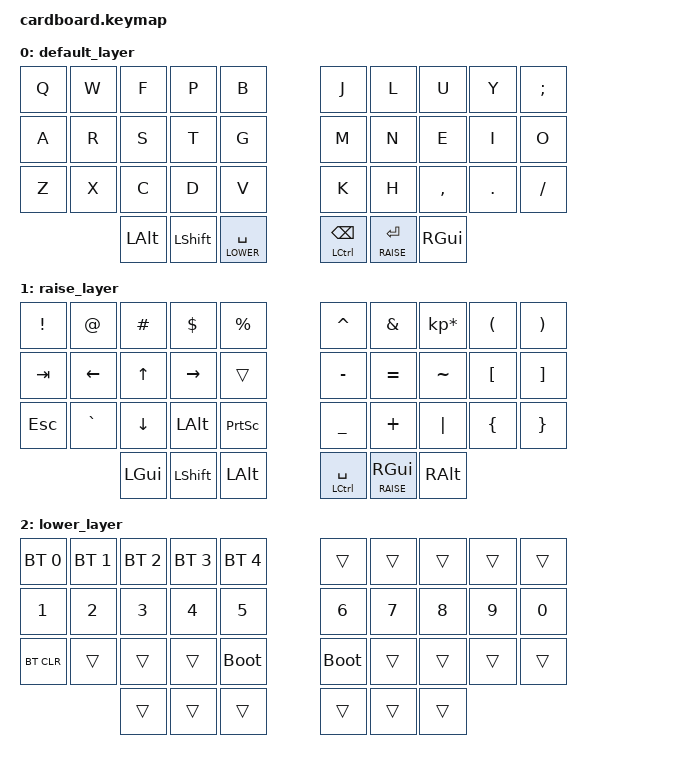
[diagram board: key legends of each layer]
#include <behaviors.dtsi>
#include <dt-bindings/zmk/keys.h>
#include <dt-bindings/zmk/bt.h>

#define DEFAULT 0
#define LOWER   1
#define RAISE   2


/ {
    keymap {
        compatible = "zmk,keymap";

        default_layer {
// -----------------------------------------------------------------------------------------
// | SW5  | SW4  | SW3  | SW2  | SW1  |                 | SW1  | SW2  | SW3  | SW4  | SW5  |
// | SW10 | SW9  | SW8  | SW7  | SW6  |                 | SW6  | SW7  | SW8  | SW9  | SW10 |
// | SW15 | SW14 | SW13 | SW12 | SW11 |                 | SW11 | SW12 | SW13 | SW14 | SW15 |
//               | ENC  | SW17 | SW16 |                 | SW16 | SW17 | ENC  |
            bindings = <
    &kp Q    &kp W    &kp F       &kp P           &kp B                               &kp J            &kp L               &kp U        &kp Y     &kp SEMI
    &kp A    &kp R    &kp S       &kp T           &kp G                               &kp M            &kp N               &kp E        &kp I     &kp O
    &kp Z    &kp X    &kp C       &kp D           &kp V                               &kp K            &kp H               &kp COMMA    &kp DOT   &kp FSLH
                      &kp LALT    &kp LSHIFT      &lt LOWER SPACE                     &mt LCTRL BSPC   &lt RAISE ENTER     &kp RGUI
            >;
        };

        raise_layer {
// ------------------------------------                                                     ------------------------------------
// | !  | @  | #  | $  | %  |                                                               |  ^  |  &  |  *  |  (  |  )  |
// | TAB | LEFT  | UP  | RIGHT  | TRANS  |                                                  |  -  |  =  |  ~  |  [  |  ]  |
// | ESC | GRAVE | DOWN | L ALT | PRINT SCREEN |                                            |  _  |  +  | "|" |  {  |  }  |
//               | ENC  | SW17 | SW16 |                                                     | SW16 | SW17 | ENC  |
            bindings = <
    &kp EXCL  &kp AT        &kp HASH     &kp DLLR     &kp PRCNT                       &kp CARET          &kp AMPS            &kp KP_MULTIPLY     &kp LPAR     &kp RPAR
    &kp TAB   &kp LEFT      &kp UP       &kp RIGHT    &trans                          &kp MINUS          &kp EQUAL           &kp TILDE           &kp LBKT     &kp RBKT
    &kp ESC   &kp GRAVE     &kp DOWN     &kp LALT     &kp PSCRN                       &kp UNDER          &kp PLUS            &kp PIPE            &kp LBRC     &kp RBRC
                            &kp LGUI     &kp LSHIFT   &kp LALT                        &mt LCTRL SPACE    &lt RAISE RGUI      &kp RALT
            >;
        };

        lower_layer {
// ___________________________________________                                                              ________________________________________________
// | BT1    | BT2  | BT3  | BT4  | BT5  |                                                                   | SW1           | SW2   | SW3   | SW4   | SW5  |
// | 1      | 2    | 3    | 4    | 5  |                                                                     | 6             | 7     | 8     | 9     | 10   |
// | BT CLR | SW14 | SW13 | SW12 | BOOTLOADER |                                                             | BOOTLOADER    | SW12  | SW13  | SW14  | SW15 |
//                 | ENC  | SW17 | SW16 |                                                                   | SW16          | SW17  | ENC   | 
            bindings = <
    &bt BT_SEL 0    &bt BT_SEL 1    &bt BT_SEL 2     &bt BT_SEL 3     &bt BT_SEL 4                          &trans          &trans     &trans      &trans    &trans
    &kp N1          &kp N2          &kp N3           &kp N4           &kp N5                                &kp N6          &kp N7     &kp N8      &kp N9    &kp N0
    &bt BT_CLR      &trans          &trans           &trans           &bootloader                           &bootloader     &trans      &trans     &trans    &trans
                                    &trans           &trans           &trans                                &trans          &trans      &trans
            >;
        };
    };

};
